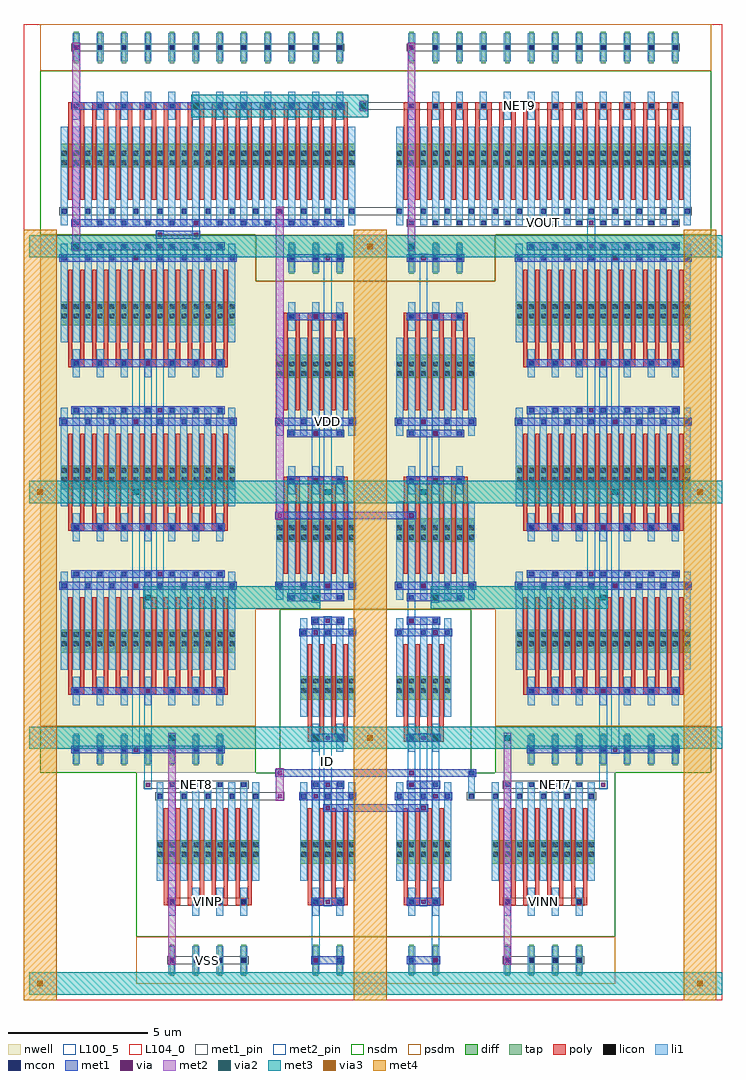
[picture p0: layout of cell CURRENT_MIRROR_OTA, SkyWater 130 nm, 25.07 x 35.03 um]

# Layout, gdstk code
import gdstk
lib = gdstk.Library(unit=1e-6, precision=1e-09)
def R(c, l, rs):  # rectangles x0, y0, x1, y1
    for r in rs: c.add(gdstk.rectangle(r[:2], r[2:], *l))
def A(c, l, x, y, w, h, nx, ny, dx, dy):  # array of equal rectangles
    R(c, l, [(x+i*dx, y+j*dy, x+i*dx+w, y+j*dy+h) for i in range(nx) for j in range(ny)])
nwell = (64, 20)
diff = (65, 20)
tap = (65, 44)
poly = (66, 20)
licon = (66, 44)
li1 = (67, 20)
mcon = (67, 44)
met1_pin = (68, 16)
met1 = (68, 20)
via = (68, 44)
met2_pin = (69, 16)
met2 = (69, 20)
via2 = (69, 44)
met3 = (70, 20)
via3 = (70, 44)
met4 = (71, 20)
nsdm = (93, 44)
psdm = (94, 20)
L100_5 = (100, 5)
L104_0 = (104, 0)

current_mirror_ota = lib.new_cell('CURRENT_MIRROR_OTA')
R(current_mirror_ota, nwell, [(0,7.56,7.74,26.88), (16.34,7.56,24.08,26.88), (7.74,13.44,12.04,26.88), (12.04,13.44,16.34,26.88)])
A(current_mirror_ota, diff, 0.735, 11.865, 6.27, 0.84, 1, 3, 0, 5.88)
A(current_mirror_ota, diff, 17.075, 11.865, 6.27, 0.84, 1, 3, 0, 5.88)
R(current_mirror_ota, diff, [(4.175,4.305,7.865,5.145), (9.335,4.305,11.305,5.145), (12.775,4.305,14.745,5.145), (16.215,4.305,19.905,5.145), (9.335,10.185,11.305,11.025), (12.775,10.185,14.745,11.025), (8.475,15.855,11.305,16.695), (12.775,15.855,15.605,16.695), (8.475,21.735,11.305,22.575), (12.775,21.735,15.605,22.575), (0.735,29.295,11.305,30.135), (12.775,29.295,23.345,30.135)])
A(current_mirror_ota, tap, 4.645, 0.28, 0.17, 1.12, 4, 1, 0.86, 0)
A(current_mirror_ota, tap, 16.685, 0.28, 0.17, 1.12, 4, 1, 0.86, 0)
A(current_mirror_ota, tap, 1.205, 7.84, 0.17, 1.12, 7, 1, 0.86, 0)
A(current_mirror_ota, tap, 17.545, 7.84, 0.17, 1.12, 7, 1, 0.86, 0)
A(current_mirror_ota, tap, 8.945, 25.48, 0.17, 1.12, 3, 1, 0.86, 0)
A(current_mirror_ota, tap, 13.245, 25.48, 0.17, 1.12, 3, 1, 0.86, 0)
A(current_mirror_ota, tap, 1.205, 33.04, 0.17, 1.12, 12, 1, 0.86, 0)
A(current_mirror_ota, tap, 13.245, 33.04, 0.17, 1.12, 12, 1, 0.86, 0)
R(current_mirror_ota, tap, [(9.805,0.28,9.975,1.4), (10.665,0.28,10.835,1.4), (13.245,0.28,13.415,1.4), (14.105,0.28,14.275,1.4)])
A(current_mirror_ota, poly, 4.44, 2.805, 0.58, 0.27, 4, 1, 0.86, 0)
A(current_mirror_ota, poly, 16.48, 2.805, 0.58, 0.27, 4, 1, 0.86, 0)
A(current_mirror_ota, poly, 4.44, 2.94, 0.15, 3.36, 8, 1, 0.43, 0)
A(current_mirror_ota, poly, 9.6, 2.94, 0.15, 3.36, 4, 2, 0.43, 5.88)
A(current_mirror_ota, poly, 13.04, 2.94, 0.15, 3.36, 4, 2, 0.43, 5.88)
A(current_mirror_ota, poly, 16.48, 2.94, 0.15, 3.36, 8, 1, 0.43, 0)
A(current_mirror_ota, poly, 1, 10.365, 0.58, 0.27, 7, 3, 0.86, 5.88)
A(current_mirror_ota, poly, 17.34, 10.365, 0.58, 0.27, 7, 3, 0.86, 5.88)
A(current_mirror_ota, poly, 1, 10.5, 0.15, 3.36, 14, 3, 0.43, 5.88)
A(current_mirror_ota, poly, 17.34, 10.5, 0.15, 3.36, 14, 3, 0.43, 5.88)
A(current_mirror_ota, poly, 8.74, 14.7, 0.15, 3.36, 6, 2, 0.43, 5.88)
A(current_mirror_ota, poly, 13.04, 14.7, 0.15, 3.36, 6, 2, 0.43, 5.88)
A(current_mirror_ota, poly, 8.74, 17.925, 0.58, 0.27, 3, 2, 0.86, 5.88)
A(current_mirror_ota, poly, 13.04, 17.925, 0.58, 0.27, 3, 2, 0.86, 5.88)
A(current_mirror_ota, poly, 1, 28.14, 0.15, 3.36, 24, 1, 0.43, 0)
A(current_mirror_ota, poly, 13.04, 28.14, 0.15, 3.36, 24, 1, 0.43, 0)
A(current_mirror_ota, poly, 1, 31.365, 0.58, 0.27, 12, 1, 0.86, 0)
A(current_mirror_ota, poly, 13.04, 31.365, 0.58, 0.27, 12, 1, 0.86, 0)
R(current_mirror_ota, poly, [(9.6,2.805,10.18,3.075), (10.46,2.805,11.04,3.075), (13.04,2.805,13.62,3.075), (13.9,2.805,14.48,3.075), (9.6,8.685,10.18,8.955), (10.46,8.685,11.04,8.955), (13.04,8.685,13.62,8.955), (13.9,8.685,14.48,8.955)])
A(current_mirror_ota, licon, 4.645, 0.755, 0.17, 0.17, 4, 2, 0.86, 2.1)
A(current_mirror_ota, licon, 16.685, 0.755, 0.17, 0.17, 4, 2, 0.86, 2.1)
A(current_mirror_ota, licon, 4.215, 4.555, 0.17, 0.17, 3, 2, 0.43, 0.34)
A(current_mirror_ota, licon, 5.075, 4.555, 0.17, 0.17, 3, 2, 0.43, 0.34)
A(current_mirror_ota, licon, 5.935, 4.555, 0.17, 0.17, 3, 2, 0.43, 0.34)
A(current_mirror_ota, licon, 6.795, 4.555, 0.17, 0.17, 3, 2, 0.43, 0.34)
A(current_mirror_ota, licon, 9.375, 4.555, 0.17, 0.17, 3, 2, 0.43, 0.34)
A(current_mirror_ota, licon, 10.235, 4.555, 0.17, 0.17, 3, 2, 0.43, 0.34)
A(current_mirror_ota, licon, 12.815, 4.555, 0.17, 0.17, 3, 2, 0.43, 0.34)
A(current_mirror_ota, licon, 13.675, 4.555, 0.17, 0.17, 3, 2, 0.43, 0.34)
A(current_mirror_ota, licon, 16.255, 4.555, 0.17, 0.17, 3, 2, 0.43, 0.34)
A(current_mirror_ota, licon, 17.115, 4.555, 0.17, 0.17, 3, 2, 0.43, 0.34)
A(current_mirror_ota, licon, 17.975, 4.555, 0.17, 0.17, 3, 2, 0.43, 0.34)
A(current_mirror_ota, licon, 18.835, 4.555, 0.17, 0.17, 3, 2, 0.43, 0.34)
A(current_mirror_ota, licon, 1.205, 10.415, 0.17, 0.17, 7, 3, 0.86, 5.88)
A(current_mirror_ota, licon, 17.545, 10.415, 0.17, 0.17, 7, 3, 0.86, 5.88)
A(current_mirror_ota, licon, 9.375, 10.435, 0.17, 0.17, 3, 2, 0.43, 0.34)
A(current_mirror_ota, licon, 10.235, 10.435, 0.17, 0.17, 3, 2, 0.43, 0.34)
A(current_mirror_ota, licon, 12.815, 10.435, 0.17, 0.17, 3, 2, 0.43, 0.34)
A(current_mirror_ota, licon, 13.675, 10.435, 0.17, 0.17, 3, 2, 0.43, 0.34)
A(current_mirror_ota, licon, 0.775, 12.115, 0.17, 0.17, 3, 2, 0.43, 0.34)
A(current_mirror_ota, licon, 1.635, 12.115, 0.17, 0.17, 3, 2, 0.43, 0.34)
A(current_mirror_ota, licon, 2.495, 12.115, 0.17, 0.17, 3, 2, 0.43, 0.34)
A(current_mirror_ota, licon, 3.355, 12.115, 0.17, 0.17, 3, 2, 0.43, 0.34)
A(current_mirror_ota, licon, 4.215, 12.115, 0.17, 0.17, 3, 2, 0.43, 0.34)
A(current_mirror_ota, licon, 5.075, 12.115, 0.17, 0.17, 3, 2, 0.43, 0.34)
A(current_mirror_ota, licon, 5.935, 12.115, 0.17, 0.17, 3, 2, 0.43, 0.34)
A(current_mirror_ota, licon, 17.115, 12.115, 0.17, 0.17, 3, 2, 0.43, 0.34)
A(current_mirror_ota, licon, 17.975, 12.115, 0.17, 0.17, 3, 2, 0.43, 0.34)
A(current_mirror_ota, licon, 18.835, 12.115, 0.17, 0.17, 3, 2, 0.43, 0.34)
A(current_mirror_ota, licon, 19.695, 12.115, 0.17, 0.17, 3, 2, 0.43, 0.34)
A(current_mirror_ota, licon, 20.555, 12.115, 0.17, 0.17, 3, 2, 0.43, 0.34)
A(current_mirror_ota, licon, 21.415, 12.115, 0.17, 0.17, 3, 2, 0.43, 0.34)
A(current_mirror_ota, licon, 22.275, 12.115, 0.17, 0.17, 3, 2, 0.43, 0.34)
A(current_mirror_ota, licon, 8.515, 15.935, 0.17, 0.17, 3, 2, 0.43, 0.34)
A(current_mirror_ota, licon, 9.375, 15.935, 0.17, 0.17, 3, 2, 0.43, 0.34)
A(current_mirror_ota, licon, 10.235, 15.935, 0.17, 0.17, 3, 2, 0.43, 0.34)
A(current_mirror_ota, licon, 12.815, 15.935, 0.17, 0.17, 3, 2, 0.43, 0.34)
A(current_mirror_ota, licon, 13.675, 15.935, 0.17, 0.17, 3, 2, 0.43, 0.34)
A(current_mirror_ota, licon, 14.535, 15.935, 0.17, 0.17, 3, 2, 0.43, 0.34)
A(current_mirror_ota, licon, 8.945, 17.975, 0.17, 0.17, 3, 2, 0.86, 5.88)
A(current_mirror_ota, licon, 13.245, 17.975, 0.17, 0.17, 3, 2, 0.86, 5.88)
A(current_mirror_ota, licon, 0.775, 17.995, 0.17, 0.17, 3, 2, 0.43, 0.34)
A(current_mirror_ota, licon, 1.635, 17.995, 0.17, 0.17, 3, 2, 0.43, 0.34)
A(current_mirror_ota, licon, 2.495, 17.995, 0.17, 0.17, 3, 2, 0.43, 0.34)
A(current_mirror_ota, licon, 3.355, 17.995, 0.17, 0.17, 3, 2, 0.43, 0.34)
A(current_mirror_ota, licon, 4.215, 17.995, 0.17, 0.17, 3, 2, 0.43, 0.34)
A(current_mirror_ota, licon, 5.075, 17.995, 0.17, 0.17, 3, 2, 0.43, 0.34)
A(current_mirror_ota, licon, 5.935, 17.995, 0.17, 0.17, 3, 2, 0.43, 0.34)
A(current_mirror_ota, licon, 17.115, 17.995, 0.17, 0.17, 3, 2, 0.43, 0.34)
A(current_mirror_ota, licon, 17.975, 17.995, 0.17, 0.17, 3, 2, 0.43, 0.34)
A(current_mirror_ota, licon, 18.835, 17.995, 0.17, 0.17, 3, 2, 0.43, 0.34)
A(current_mirror_ota, licon, 19.695, 17.995, 0.17, 0.17, 3, 2, 0.43, 0.34)
A(current_mirror_ota, licon, 20.555, 17.995, 0.17, 0.17, 3, 2, 0.43, 0.34)
A(current_mirror_ota, licon, 21.415, 17.995, 0.17, 0.17, 3, 2, 0.43, 0.34)
A(current_mirror_ota, licon, 22.275, 17.995, 0.17, 0.17, 3, 2, 0.43, 0.34)
A(current_mirror_ota, licon, 8.515, 21.815, 0.17, 0.17, 3, 2, 0.43, 0.34)
A(current_mirror_ota, licon, 9.375, 21.815, 0.17, 0.17, 3, 2, 0.43, 0.34)
A(current_mirror_ota, licon, 10.235, 21.815, 0.17, 0.17, 3, 2, 0.43, 0.34)
A(current_mirror_ota, licon, 12.815, 21.815, 0.17, 0.17, 3, 2, 0.43, 0.34)
A(current_mirror_ota, licon, 13.675, 21.815, 0.17, 0.17, 3, 2, 0.43, 0.34)
A(current_mirror_ota, licon, 14.535, 21.815, 0.17, 0.17, 3, 2, 0.43, 0.34)
A(current_mirror_ota, licon, 0.775, 23.875, 0.17, 0.17, 3, 2, 0.43, 0.34)
A(current_mirror_ota, licon, 1.635, 23.875, 0.17, 0.17, 3, 2, 0.43, 0.34)
A(current_mirror_ota, licon, 2.495, 23.875, 0.17, 0.17, 3, 2, 0.43, 0.34)
A(current_mirror_ota, licon, 3.355, 23.875, 0.17, 0.17, 3, 2, 0.43, 0.34)
A(current_mirror_ota, licon, 4.215, 23.875, 0.17, 0.17, 3, 2, 0.43, 0.34)
A(current_mirror_ota, licon, 5.075, 23.875, 0.17, 0.17, 3, 2, 0.43, 0.34)
A(current_mirror_ota, licon, 5.935, 23.875, 0.17, 0.17, 3, 2, 0.43, 0.34)
A(current_mirror_ota, licon, 17.115, 23.875, 0.17, 0.17, 3, 2, 0.43, 0.34)
A(current_mirror_ota, licon, 17.975, 23.875, 0.17, 0.17, 3, 2, 0.43, 0.34)
A(current_mirror_ota, licon, 18.835, 23.875, 0.17, 0.17, 3, 2, 0.43, 0.34)
A(current_mirror_ota, licon, 19.695, 23.875, 0.17, 0.17, 3, 2, 0.43, 0.34)
A(current_mirror_ota, licon, 20.555, 23.875, 0.17, 0.17, 3, 2, 0.43, 0.34)
A(current_mirror_ota, licon, 21.415, 23.875, 0.17, 0.17, 3, 2, 0.43, 0.34)
A(current_mirror_ota, licon, 22.275, 23.875, 0.17, 0.17, 3, 2, 0.43, 0.34)
A(current_mirror_ota, licon, 0.775, 29.375, 0.17, 0.17, 3, 2, 0.43, 0.34)
A(current_mirror_ota, licon, 1.635, 29.375, 0.17, 0.17, 3, 2, 0.43, 0.34)
A(current_mirror_ota, licon, 2.495, 29.375, 0.17, 0.17, 3, 2, 0.43, 0.34)
A(current_mirror_ota, licon, 3.355, 29.375, 0.17, 0.17, 3, 2, 0.43, 0.34)
A(current_mirror_ota, licon, 4.215, 29.375, 0.17, 0.17, 3, 2, 0.43, 0.34)
A(current_mirror_ota, licon, 5.075, 29.375, 0.17, 0.17, 3, 2, 0.43, 0.34)
A(current_mirror_ota, licon, 5.935, 29.375, 0.17, 0.17, 3, 2, 0.43, 0.34)
A(current_mirror_ota, licon, 6.795, 29.375, 0.17, 0.17, 3, 2, 0.43, 0.34)
A(current_mirror_ota, licon, 7.655, 29.375, 0.17, 0.17, 3, 2, 0.43, 0.34)
A(current_mirror_ota, licon, 8.515, 29.375, 0.17, 0.17, 3, 2, 0.43, 0.34)
A(current_mirror_ota, licon, 9.375, 29.375, 0.17, 0.17, 3, 2, 0.43, 0.34)
A(current_mirror_ota, licon, 10.235, 29.375, 0.17, 0.17, 3, 2, 0.43, 0.34)
A(current_mirror_ota, licon, 12.815, 29.375, 0.17, 0.17, 3, 2, 0.43, 0.34)
A(current_mirror_ota, licon, 13.675, 29.375, 0.17, 0.17, 3, 2, 0.43, 0.34)
A(current_mirror_ota, licon, 14.535, 29.375, 0.17, 0.17, 3, 2, 0.43, 0.34)
A(current_mirror_ota, licon, 15.395, 29.375, 0.17, 0.17, 3, 2, 0.43, 0.34)
A(current_mirror_ota, licon, 16.255, 29.375, 0.17, 0.17, 3, 2, 0.43, 0.34)
A(current_mirror_ota, licon, 17.115, 29.375, 0.17, 0.17, 3, 2, 0.43, 0.34)
A(current_mirror_ota, licon, 17.975, 29.375, 0.17, 0.17, 3, 2, 0.43, 0.34)
A(current_mirror_ota, licon, 18.835, 29.375, 0.17, 0.17, 3, 2, 0.43, 0.34)
A(current_mirror_ota, licon, 19.695, 29.375, 0.17, 0.17, 3, 2, 0.43, 0.34)
A(current_mirror_ota, licon, 20.555, 29.375, 0.17, 0.17, 3, 2, 0.43, 0.34)
A(current_mirror_ota, licon, 21.415, 29.375, 0.17, 0.17, 3, 2, 0.43, 0.34)
A(current_mirror_ota, licon, 22.275, 29.375, 0.17, 0.17, 3, 2, 0.43, 0.34)
A(current_mirror_ota, licon, 1.205, 31.415, 0.17, 0.17, 12, 2, 0.86, 2.1)
A(current_mirror_ota, licon, 13.245, 31.415, 0.17, 0.17, 12, 2, 0.86, 2.1)
R(current_mirror_ota, licon, [(9.805,0.755,9.975,0.925), (9.805,0.755,9.975,0.925), (10.665,0.755,10.835,0.925), (10.665,0.755,10.835,0.925), (13.245,0.755,13.415,0.925), (13.245,0.755,13.415,0.925), (14.105,0.755,14.275,0.925), (14.105,0.755,14.275,0.925), (9.805,2.855,9.975,3.025), (10.665,2.855,10.835,3.025), (13.245,2.855,13.415,3.025), (14.105,2.855,14.275,3.025), (1.205,8.315,1.375,8.485), (1.205,8.315,1.375,8.485), (1.205,8.315,1.375,8.485), (2.065,8.315,2.235,8.485), (2.065,8.315,2.235,8.485), (2.065,8.315,2.235,8.485), (2.925,8.315,3.095,8.485), (2.925,8.315,3.095,8.485), (2.925,8.315,3.095,8.485), (3.785,8.315,3.955,8.485), (3.785,8.315,3.955,8.485), (3.785,8.315,3.955,8.485), (4.645,8.315,4.815,8.485), (4.645,8.315,4.815,8.485), (4.645,8.315,4.815,8.485), (5.505,8.315,5.675,8.485), (5.505,8.315,5.675,8.485), (5.505,8.315,5.675,8.485), (6.365,8.315,6.535,8.485), (6.365,8.315,6.535,8.485), (6.365,8.315,6.535,8.485), (17.545,8.315,17.715,8.485), (17.545,8.315,17.715,8.485), (17.545,8.315,17.715,8.485), (18.405,8.315,18.575,8.485), (18.405,8.315,18.575,8.485), (18.405,8.315,18.575,8.485), (19.265,8.315,19.435,8.485), (19.265,8.315,19.435,8.485), (19.265,8.315,19.435,8.485), (20.125,8.315,20.295,8.485), (20.125,8.315,20.295,8.485), (20.125,8.315,20.295,8.485), (20.985,8.315,21.155,8.485), (20.985,8.315,21.155,8.485), (20.985,8.315,21.155,8.485), (21.845,8.315,22.015,8.485), (21.845,8.315,22.015,8.485), (21.845,8.315,22.015,8.485), (22.705,8.315,22.875,8.485), (22.705,8.315,22.875,8.485), (22.705,8.315,22.875,8.485), (9.805,8.735,9.975,8.905), (10.665,8.735,10.835,8.905), (13.245,8.735,13.415,8.905), (14.105,8.735,14.275,8.905), (8.945,25.955,9.115,26.125), (8.945,25.955,9.115,26.125), (9.805,25.955,9.975,26.125), (9.805,25.955,9.975,26.125), (10.665,25.955,10.835,26.125), (10.665,25.955,10.835,26.125), (13.245,25.955,13.415,26.125), (13.245,25.955,13.415,26.125), (14.105,25.955,14.275,26.125), (14.105,25.955,14.275,26.125), (14.965,25.955,15.135,26.125), (14.965,25.955,15.135,26.125)])
A(current_mirror_ota, li1, 4.605, 0.335, 0.25, 1.01, 4, 2, 0.86, 2.1)
A(current_mirror_ota, li1, 16.645, 0.335, 0.25, 1.01, 4, 2, 0.86, 2.1)
A(current_mirror_ota, li1, 4.175, 3.695, 0.25, 3.53, 9, 1, 0.43, 0)
A(current_mirror_ota, li1, 9.335, 3.695, 0.25, 3.53, 5, 2, 0.43, 5.88)
A(current_mirror_ota, li1, 12.775, 3.695, 0.25, 3.53, 5, 2, 0.43, 5.88)
A(current_mirror_ota, li1, 16.215, 3.695, 0.25, 3.53, 9, 1, 0.43, 0)
A(current_mirror_ota, li1, 1.165, 7.895, 0.25, 1.01, 7, 2, 0.86, 2.1)
A(current_mirror_ota, li1, 17.505, 7.895, 0.25, 1.01, 7, 2, 0.86, 2.1)
A(current_mirror_ota, li1, 0.735, 11.255, 0.25, 3.53, 15, 3, 0.43, 5.88)
A(current_mirror_ota, li1, 17.075, 11.255, 0.25, 3.53, 15, 3, 0.43, 5.88)
A(current_mirror_ota, li1, 8.475, 13.775, 0.25, 3.53, 7, 2, 0.43, 5.88)
A(current_mirror_ota, li1, 12.775, 13.775, 0.25, 3.53, 7, 2, 0.43, 5.88)
A(current_mirror_ota, li1, 1.165, 15.875, 0.25, 1.01, 7, 2, 0.86, 5.88)
A(current_mirror_ota, li1, 17.505, 15.875, 0.25, 1.01, 7, 2, 0.86, 5.88)
A(current_mirror_ota, li1, 8.905, 17.555, 0.25, 1.01, 3, 2, 0.86, 5.88)
A(current_mirror_ota, li1, 13.205, 17.555, 0.25, 1.01, 3, 2, 0.86, 5.88)
A(current_mirror_ota, li1, 8.905, 25.535, 0.25, 1.01, 3, 1, 0.86, 0)
A(current_mirror_ota, li1, 13.205, 25.535, 0.25, 1.01, 3, 1, 0.86, 0)
A(current_mirror_ota, li1, 0.735, 27.215, 0.25, 3.53, 25, 1, 0.43, 0)
A(current_mirror_ota, li1, 12.775, 27.215, 0.25, 3.53, 25, 1, 0.43, 0)
A(current_mirror_ota, li1, 1.165, 30.995, 0.25, 1.01, 12, 2, 0.86, 2.1)
A(current_mirror_ota, li1, 13.205, 30.995, 0.25, 1.01, 12, 2, 0.86, 2.1)
R(current_mirror_ota, li1, [(9.765,0.335,10.015,1.345), (10.625,0.335,10.875,1.345), (13.205,0.335,13.455,1.345), (14.065,0.335,14.315,1.345), (9.765,2.435,10.015,3.445), (10.625,2.435,10.875,3.445), (13.205,2.435,13.455,3.445), (14.065,2.435,14.315,3.445), (15.355,6.635,15.605,7.645), (9.765,8.315,10.015,9.325), (10.625,8.315,10.875,9.325), (13.205,8.315,13.455,9.325), (14.065,8.315,14.315,9.325)])
A(current_mirror_ota, mcon, 4.645, 0.755, 0.17, 0.17, 4, 2, 0.86, 2.1)
A(current_mirror_ota, mcon, 16.685, 0.755, 0.17, 0.17, 4, 2, 0.86, 2.1)
A(current_mirror_ota, mcon, 4.215, 6.635, 0.17, 0.17, 5, 1, 0.86, 0)
A(current_mirror_ota, mcon, 9.375, 6.635, 0.17, 0.17, 3, 2, 0.86, 5.88)
A(current_mirror_ota, mcon, 12.815, 6.635, 0.17, 0.17, 9, 1, 0.86, 0)
A(current_mirror_ota, mcon, 4.645, 7.055, 0.17, 0.17, 4, 1, 0.86, 0)
A(current_mirror_ota, mcon, 16.685, 7.055, 0.17, 0.17, 4, 1, 0.86, 0)
A(current_mirror_ota, mcon, 1.205, 8.315, 0.17, 0.17, 7, 2, 0.86, 2.1)
A(current_mirror_ota, mcon, 17.545, 8.315, 0.17, 0.17, 7, 2, 0.86, 2.1)
A(current_mirror_ota, mcon, 12.815, 12.515, 0.17, 0.17, 3, 1, 0.86, 0)
A(current_mirror_ota, mcon, 8.945, 13.775, 0.17, 0.17, 3, 2, 0.86, 4.2)
A(current_mirror_ota, mcon, 13.245, 13.775, 0.17, 0.17, 3, 2, 0.86, 4.2)
A(current_mirror_ota, mcon, 0.775, 14.195, 0.17, 0.17, 8, 3, 0.86, 5.88)
A(current_mirror_ota, mcon, 8.515, 14.195, 0.17, 0.17, 4, 2, 0.86, 5.88)
A(current_mirror_ota, mcon, 12.815, 14.195, 0.17, 0.17, 4, 2, 0.86, 5.88)
A(current_mirror_ota, mcon, 17.115, 14.195, 0.17, 0.17, 8, 3, 0.86, 5.88)
A(current_mirror_ota, mcon, 1.205, 14.615, 0.17, 0.17, 7, 2, 0.86, 1.68)
A(current_mirror_ota, mcon, 17.545, 14.615, 0.17, 0.17, 7, 2, 0.86, 1.68)
A(current_mirror_ota, mcon, 8.945, 19.655, 0.17, 0.17, 3, 2, 0.86, 4.2)
A(current_mirror_ota, mcon, 13.245, 19.655, 0.17, 0.17, 3, 2, 0.86, 4.2)
A(current_mirror_ota, mcon, 1.205, 20.495, 0.17, 0.17, 7, 2, 0.86, 1.68)
A(current_mirror_ota, mcon, 17.545, 20.495, 0.17, 0.17, 7, 2, 0.86, 1.68)
A(current_mirror_ota, mcon, 8.945, 25.955, 0.17, 0.17, 3, 1, 0.86, 0)
A(current_mirror_ota, mcon, 13.245, 25.955, 0.17, 0.17, 3, 1, 0.86, 0)
A(current_mirror_ota, mcon, 1.205, 26.375, 0.17, 0.17, 7, 1, 0.86, 0)
A(current_mirror_ota, mcon, 17.545, 26.375, 0.17, 0.17, 7, 1, 0.86, 0)
A(current_mirror_ota, mcon, 1.205, 27.215, 0.17, 0.17, 12, 2, 0.86, 4.2)
A(current_mirror_ota, mcon, 13.245, 27.215, 0.17, 0.17, 12, 2, 0.86, 4.2)
A(current_mirror_ota, mcon, 0.775, 27.635, 0.17, 0.17, 13, 1, 0.86, 0)
A(current_mirror_ota, mcon, 12.815, 27.635, 0.17, 0.17, 13, 1, 0.86, 0)
A(current_mirror_ota, mcon, 1.205, 33.515, 0.17, 0.17, 12, 1, 0.86, 0)
A(current_mirror_ota, mcon, 13.245, 33.515, 0.17, 0.17, 12, 1, 0.86, 0)
R(current_mirror_ota, mcon, [(9.805,0.755,9.975,0.925), (10.665,0.755,10.835,0.925), (13.245,0.755,13.415,0.925), (14.105,0.755,14.275,0.925), (9.805,2.855,9.975,3.025), (10.665,2.855,10.835,3.025), (13.245,2.855,13.415,3.025), (14.105,2.855,14.275,3.025), (9.805,7.055,9.975,7.225), (10.665,7.055,10.835,7.225), (13.245,7.055,13.415,7.225), (14.105,7.055,14.275,7.225), (15.395,7.475,15.565,7.645), (9.805,8.735,9.975,8.905), (10.665,8.735,10.835,8.905), (13.245,8.735,13.415,8.905), (14.105,8.735,14.275,8.905), (9.805,12.935,9.975,13.105), (10.665,12.935,10.835,13.105), (13.245,12.935,13.415,13.105), (14.105,12.935,14.275,13.105)])
R(current_mirror_ota, met1_pin, [(4.56,0.7,7.48,0.98), (16.6,0.7,19.52,0.98), (4.56,2.8,7.48,3.08), (16.6,2.8,19.52,3.08), (4.13,6.58,8.76,6.86), (15.31,6.58,19.95,6.86), (3.71,7,7.48,7.28), (16.6,7,20.37,7.28), (13.16,27.16,22.96,27.44), (0.69,27.58,23.39,27.86), (11.45,31.36,22.96,31.64), (1.12,33.46,10.92,33.74), (13.16,33.46,22.96,33.74)])
A(current_mirror_ota, met1, 0.69, 14.14, 6.36, 0.28, 1, 3, 0, 5.88)
A(current_mirror_ota, met1, 17.03, 14.14, 6.36, 0.28, 1, 3, 0, 5.88)
R(current_mirror_ota, met1, [(9.72,0.7,10.92,0.98), (13.16,0.7,14.36,0.98), (9.72,2.8,10.92,3.08), (13.16,2.8,14.36,3.08), (10.16,6.16,13.92,6.44), (9.29,6.58,11.35,6.86), (12.73,6.58,14.79,6.86), (9.72,7,10.92,7.28), (13.16,7,14.36,7.28), (8.44,7.42,15.65,7.7), (1.12,8.26,6.62,8.54), (17.46,8.26,22.96,8.54), (9.72,8.68,10.92,8.96), (13.16,8.68,14.36,8.96), (1.12,10.36,6.62,10.64), (17.46,10.36,22.96,10.64), (9.29,12.46,11.35,12.74), (12.73,12.46,14.79,12.74), (9.72,12.88,10.92,13.16), (13.16,12.88,14.36,13.16), (8.86,13.72,10.92,14), (13.16,13.72,15.22,14), (8.43,14.14,11.35,14.42), (12.73,14.14,15.65,14.42), (1.12,14.56,6.62,14.84), (17.46,14.56,22.96,14.84), (1.12,16.24,6.62,16.52), (17.46,16.24,22.96,16.52), (8.44,16.66,13.49,16.94), (8.86,17.92,10.92,18.2), (13.16,17.92,15.22,18.2), (8.86,19.6,10.92,19.88), (13.16,19.6,15.22,19.88), (8.43,20.02,11.35,20.3), (12.73,20.02,15.65,20.3), (1.12,20.44,6.62,20.72), (17.46,20.44,22.96,20.72), (1.12,22.12,6.62,22.4), (17.46,22.12,22.96,22.4), (8.86,23.8,10.92,24.08), (13.16,23.8,15.22,24.08), (8.86,25.9,10.92,26.18), (13.16,25.9,15.22,26.18), (1.12,26.32,6.62,26.6), (17.46,26.32,22.96,26.6), (4.14,26.74,5.75,27.02), (1.12,27.16,10.92,27.44), (1.12,31.36,10.92,31.64)])
A(current_mirror_ota, via, 9.815, 0.765, 0.15, 0.15, 1, 3, 0, 5.88)
A(current_mirror_ota, via, 14.115, 0.765, 0.15, 0.15, 1, 3, 0, 5.88)
A(current_mirror_ota, via, 3.365, 8.325, 0.15, 0.15, 1, 4, 0, 5.88)
A(current_mirror_ota, via, 20.565, 8.325, 0.15, 0.15, 1, 4, 0, 5.88)
A(current_mirror_ota, via, 3.795, 10.425, 0.15, 0.15, 1, 3, 0, 5.88)
A(current_mirror_ota, via, 20.135, 10.425, 0.15, 0.15, 1, 3, 0, 5.88)
A(current_mirror_ota, via, 10.245, 14.205, 0.15, 0.15, 1, 3, 0, 5.88)
A(current_mirror_ota, via, 13.685, 14.205, 0.15, 0.15, 1, 3, 0, 5.88)
A(current_mirror_ota, via, 4.225, 14.625, 0.15, 0.15, 1, 3, 0, 5.88)
A(current_mirror_ota, via, 19.705, 14.625, 0.15, 0.15, 1, 3, 0, 5.88)
R(current_mirror_ota, via, [(4.655,0.765,4.805,0.915), (16.695,0.765,16.845,0.915), (10.245,2.865,10.395,3.015), (13.685,2.865,13.835,3.015), (10.245,6.225,10.395,6.375), (13.685,6.225,13.835,6.375), (8.525,6.645,8.675,6.795), (3.795,7.065,3.945,7.215), (10.245,7.065,10.395,7.215), (13.255,7.065,13.405,7.215), (20.135,7.065,20.285,7.215), (8.525,7.485,8.675,7.635), (13.255,7.485,13.405,7.635), (10.245,8.745,10.395,8.895), (13.685,8.745,13.835,8.895), (10.245,12.945,10.395,13.095), (13.255,12.945,13.405,13.095), (9.815,13.785,9.965,13.935), (14.115,13.785,14.265,13.935), (8.525,16.725,8.675,16.875), (13.255,16.725,13.405,16.875), (9.815,17.985,9.965,18.135), (14.115,17.985,14.265,18.135), (9.815,19.665,9.965,19.815), (14.115,19.665,14.265,19.815), (9.815,23.865,9.965,24.015), (14.115,23.865,14.265,24.015), (4.225,26.805,4.375,26.955), (5.515,26.805,5.665,26.955), (5.515,27.225,5.665,27.375), (19.705,27.225,19.855,27.375), (8.525,27.645,8.675,27.795), (5.515,31.425,5.665,31.575), (11.535,31.425,11.685,31.575), (1.215,33.525,1.365,33.675), (13.255,33.525,13.405,33.675)])
R(current_mirror_ota, met2_pin, [(9.75,0.68,10.03,12.76), (14.05,0.68,14.33,12.76), (10.18,2.78,10.46,13.18), (13.62,2.78,13.9,8.98), (3.73,6.98,4.01,22.42), (13.19,6.98,13.47,16.96), (20.07,6.98,20.35,22.42), (3.3,8.24,3.58,26.2), (20.5,8.24,20.78,26.2), (9.75,13.675,10.03,24.1), (14.05,13.675,14.33,24.1), (10.18,14.12,10.46,26.2), (13.62,14.12,13.9,26.2), (4.16,14.54,4.44,27.04), (19.64,14.54,19.92,27.46), (5.45,26.72,5.73,31.685)])
R(current_mirror_ota, met2, [(4.59,0.68,4.87,9.005), (16.63,0.68,16.91,9.005), (8.46,6.56,8.74,7.72), (8.46,16.64,8.74,27.88), (1.15,26.275,1.43,33.76), (13.19,26.275,13.47,33.76), (11.47,31.315,11.75,31.685)])
R(current_mirror_ota, via2, [(4.63,8.72,4.83,8.92), (9.79,8.72,9.99,8.92), (14.09,8.72,14.29,8.92), (16.67,8.72,16.87,8.92), (3.77,13.76,3.97,13.96), (9.79,13.76,9.99,13.96), (14.09,13.76,14.29,13.96), (20.11,13.76,20.31,13.96), (3.34,17.54,3.54,17.74), (10.22,17.54,10.42,17.74), (13.66,17.54,13.86,17.74), (20.54,17.54,20.74,17.74), (1.19,26.36,1.39,26.56), (13.23,26.36,13.43,26.56), (5.49,31.4,5.69,31.6), (11.51,31.4,11.71,31.6)])
A(current_mirror_ota, met3, -0.4, -0.4, 24.88, 0.8, 1, 4, 0, 8.82)
R(current_mirror_ota, met3, [(3.705,13.46,10.055,14.26), (14.025,13.46,20.375,14.26), (5.425,31.1,11.775,31.9)])
R(current_mirror_ota, via3, [(-0.1,-0.1,0.1,0.1), (23.58,-0.1,23.78,0.1), (11.74,8.72,11.94,8.92), (-0.1,17.54,0.1,17.74), (23.58,17.54,23.78,17.74), (11.74,26.36,11.94,26.56)])
A(current_mirror_ota, met4, -0.59, -0.59, 1.18, 27.64, 3, 1, 11.84, 0)
R(current_mirror_ota, nsdm, [(3.44,1.68,8.6,7.56), (8.6,1.68,12.04,13.44), (12.04,1.68,15.48,13.44), (15.48,1.68,20.64,7.56), (0,7.56,7.74,9.24), (16.34,7.56,24.08,9.24), (7.74,25.2,12.04,26.88), (12.04,25.2,16.34,26.88), (0,26.88,12.04,32.76), (12.04,26.88,24.08,32.76)])
R(current_mirror_ota, psdm, [(3.44,0,8.6,1.68), (8.6,0,12.04,1.68), (12.04,0,15.48,1.68), (15.48,0,20.64,1.68), (0,9.24,7.74,26.88), (16.34,9.24,24.08,26.88), (7.74,13.44,12.04,25.2), (12.04,13.44,16.34,25.2), (0,32.76,12.04,34.44), (12.04,32.76,24.08,34.44)])
R(current_mirror_ota, L100_5, [(-0.59,-0.59,24.48,34.44)])
R(current_mirror_ota, L104_0, [(-0.59,-0.59,24.48,34.44)])
current_mirror_ota.add(gdstk.Label('VINP', (6.02,2.94), layer=68, texttype=5))
current_mirror_ota.add(gdstk.Label('VINN', (18.06,2.94), layer=68, texttype=5))
current_mirror_ota.add(gdstk.Label('NET8', (5.595,7.14), layer=68, texttype=5))
current_mirror_ota.add(gdstk.Label('NET7', (18.485,7.14), layer=68, texttype=5))
current_mirror_ota.add(gdstk.Label('SOURCE', (6.445,6.72), layer=68, texttype=5))
current_mirror_ota.add(gdstk.Label('VSS', (6.02,0.84), layer=68, texttype=5))
current_mirror_ota.add(gdstk.Label('NET9', (17.205,31.5), layer=68, texttype=5))
current_mirror_ota.add(gdstk.Label('VOUT', (18.06,27.3), layer=68, texttype=5))
current_mirror_ota.add(gdstk.Label('ID', (10.32,7.98), layer=69, texttype=5))
current_mirror_ota.add(gdstk.Label('VDD', (10.32,20.16), layer=69, texttype=5))

lib.write_gds('CURRENT_MIRROR_OTA.gds')
